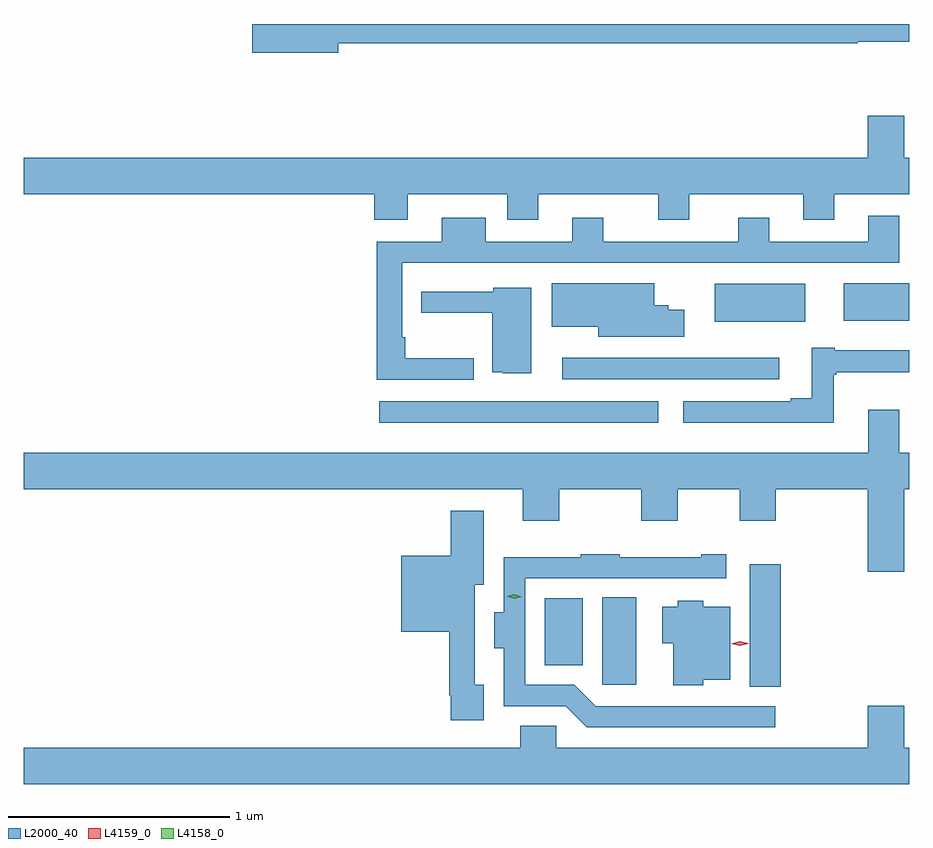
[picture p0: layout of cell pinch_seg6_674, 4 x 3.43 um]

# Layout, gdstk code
import gdstk
lib = gdstk.Library(unit=1e-6, precision=1e-09)
def R(c, l, rs):  # rectangles x0, y0, x1, y1
    for r in rs: c.add(gdstk.rectangle(r[:2], r[2:], *l))
def P(c, l, *ps):  # polygons
    for p in ps: c.add(gdstk.Polygon(p, *l))
L2000_40 = (2000, 40)
L4158_0 = (4158, 0)
L4159_0 = (4159, 0)

pinch_seg6_674 = lib.new_cell('pinch_seg6_674')
R(pinch_seg6_674, L2000_40, [(440.198,929.127,440.339,929.68), (439.532,929.136,439.687,929.531), (439.274,929.225,439.444,929.527), (438.525,930.32,439.786,930.417), (440.042,930.776,440.449,930.946), (440.624,930.779,440.92,930.949)])
P(pinch_seg6_674, L2000_40, [(438.34,932.032),(440.687,932.032),(440.687,932.04),(440.92,932.04),(440.92,932.12),(437.952,932.12),(437.952,931.99),(438.34,931.99)],
  [(438.655,931.352),(439.103,931.352),(439.103,931.235),(439.243,931.235),(439.243,931.352),(439.787,931.352),(439.787,931.235),(439.927,931.235),(439.927,931.352),(440.441,931.352),(440.441,931.235),(440.581,931.235),(440.581,931.352),(440.92,931.352),(440.92,931.516),(440.896,931.516),(440.896,931.705),(440.732,931.705),(440.732,931.516),(436.92,931.516),(436.92,931.352),(438.503,931.352),(438.503,931.235),(438.655,931.235)],
  [(438.952,930.611),(438.643,930.611),(438.643,930.706),(438.63,930.706),(438.63,931.041),(440.875,931.041),(440.875,931.255),(440.735,931.255),(440.735,931.137),(440.287,931.137),(440.287,931.246),(440.147,931.246),(440.147,931.137),(439.537,931.137),(439.537,931.246),(439.397,931.246),(439.397,931.137),(439.006,931.137),(439.006,931.246),(438.809,931.246),(438.809,931.137),(438.514,931.137),(438.514,930.513),(438.952,930.513)],
  [(439.903,930.829),(439.83,930.829),(439.83,930.85),(439.768,930.85),(439.768,930.949),(439.304,930.949),(439.304,930.752),(439.514,930.752),(439.514,930.707),(439.903,930.707)],
  [(439.213,930.928),(439.041,930.928),(439.041,930.912),(438.715,930.912),(438.715,930.815),(439.037,930.815),(439.037,930.548),(439.083,930.548),(439.083,930.542),(439.213,930.542)],
  [(440.578,930.537),(440.59,930.537),(440.59,930.548),(440.92,930.548),(440.92,930.646),(440.584,930.646),(440.584,930.658),(440.48,930.658),(440.48,930.43),(440.384,930.43),(440.384,930.417),(439.899,930.417),(439.899,930.32),(440.578,930.32)],
  [(440.332,930.613),(440.046,930.613),(440.046,930.612),(439.353,930.612),(439.353,930.516),(440.332,930.516)],
  [(440.896,930.02),(440.92,930.02),(440.92,930.184),(440.875,930.184),(440.875,930.379),(440.735,930.379),(440.735,930.184),(436.92,930.184),(436.92,930.02),(439.175,930.02),(439.175,929.877),(439.339,929.877),(439.339,930.02),(439.709,930.02),(439.709,929.877),(439.873,929.877),(439.873,930.02),(440.153,930.02),(440.153,929.877),(440.317,929.877),(440.317,930.02),(440.732,930.02),(440.732,929.646),(440.896,929.646)],
  [(438.997,929.137),(438.957,929.137),(438.957,929.588),(438.997,929.588),(438.997,929.923),(438.848,929.923),(438.848,929.719),(438.626,929.719),(438.626,929.375),(438.841,929.375),(438.841,929.089),(438.849,929.089),(438.849,928.977),(438.997,928.977)],
  [(440.314,929.04),(439.503,929.04),(439.407,929.136),(439.185,929.136),(439.185,929.616),(440.092,929.616),(440.092,929.725),(439.979,929.725),(439.979,929.713),(439.613,929.713),(439.613,929.725),(439.435,929.725),(439.435,929.713),(439.089,929.713),(439.089,929.464),(439.046,929.464),(439.046,929.3),(439.088,929.3),(439.088,929.04),(439.368,929.04),(439.464,928.944),(440.314,928.944)],
  [(439.989,929.159),(440.11,929.159),(440.11,929.488),(439.989,929.488),(439.989,929.515),(439.875,929.515),(439.875,929.488),(439.805,929.488),(439.805,929.324),(439.853,929.324),(439.853,929.135),(439.989,929.135)],
  [(440.92,928.852),(440.896,928.852),(440.896,929.041),(440.732,929.041),(440.732,928.852),(439.326,928.852),(439.326,928.95),(439.163,928.95),(439.163,928.852),(436.92,928.852),(436.92,928.688),(440.92,928.688)])
P(pinch_seg6_674, L4158_0, [(439.135,929.525),(439.101,929.535),(439.101,929.535),(439.101,929.536),(439.136,929.545),(439.17,929.534),(439.17,929.534),(439.17,929.534)])
P(pinch_seg6_674, L4159_0, [(440.155,929.312),(440.116,929.321),(440.116,929.321),(440.116,929.321),(440.154,929.332),(440.193,929.323),(440.193,929.322),(440.193,929.322)])

lib.write_gds('pinch_seg6_674.gds')
